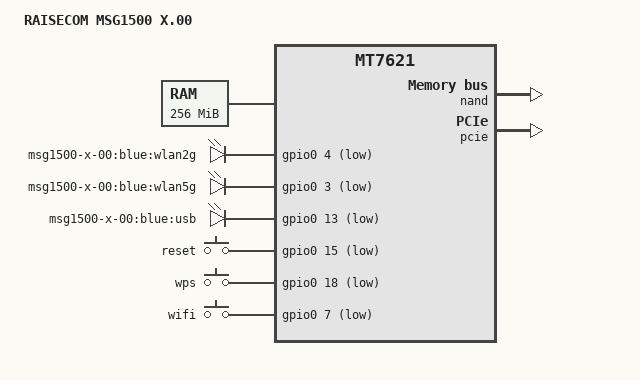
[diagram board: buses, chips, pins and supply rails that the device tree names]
/dts-v1/;

#include "mt7621.dtsi"

#include <dt-bindings/gpio/gpio.h>
#include <dt-bindings/input/input.h>

/ {
	compatible = "raisecom,msg1500-x-00", "mediatek,mt7621-soc";
	model = "RAISECOM MSG1500 X.00";

	memory@0 {
		device_type = "memory";
		reg = <0x0 0x10000000>;
	};

	chosen {
		bootargs = "console=ttyS0,115200";
	};

	gpio-leds {
		compatible = "gpio-leds";

		wlan2g {
			label = "msg1500-x-00:blue:wlan2g";
			gpios = <&gpio0 4 GPIO_ACTIVE_LOW>;
			linux,default-trigger = "phy0radio";
		};

		wlan5g {
			label = "msg1500-x-00:blue:wlan5g";
			gpios = <&gpio0 3 GPIO_ACTIVE_LOW>;
			linux,default-trigger = "phy1radio";
		};

		usb {
			label = "msg1500-x-00:blue:usb";
			gpios = <&gpio0 13 GPIO_ACTIVE_LOW>;
			trigger-sources = <&ehci_port2>;
			linux,default-trigger = "usbport";
		};
	};

	gpio-keys-polled {
		compatible = "gpio-keys-polled";
		#address-cells = <1>;
		#size-cells = <0>;
		poll-interval = <20>;

		reset {
			label = "reset";
			gpios = <&gpio0 15 GPIO_ACTIVE_LOW>;
			linux,code = <KEY_RESTART>;
		};

		wps {
			label = "wps";
			gpios = <&gpio0 18 GPIO_ACTIVE_LOW>;
			linux,code = <KEY_WPS_BUTTON>;
		};

		wifi {
			label = "wifi";
			gpios = <&gpio0 7 GPIO_ACTIVE_LOW>;
			linux,code = <KEY_RFKILL>;
		};
	};
};

&nand {
	status = "okay";

	partition@0 {
		label = "Bootloader";
		reg = <0x0 0x80000>;
		read-only;
	};

	partition@80000 {
		label = "Config";
		reg = <0x80000 0x80000>;
		read-only;
	};

	factory: partition@100000 {
		label = "Factory";
		reg = <0x100000 0x40000>;
		read-only;
	};

	partition@140000 {
		label = "kernel";
		reg = <0x140000 0x400000>;
	};

	partition@540000 {
		label = "ubi";
		reg = <0x540000 0x7a40000>;
	};
};

&pcie {
	status = "okay";

	pcie0 {
		mt76@0,0 {
			reg = <0x0000 0 0 0 0>;
			device_type = "pci";
			mediatek,mtd-eeprom = <&factory 0x0>;
		};
	};
};

&pinctrl {
	state_default: pinctrl0 {
		gpio {
			ralink,group = "i2c", "jtag", "uart3", "wdt";
			ralink,function = "gpio";
		};
	};
};
